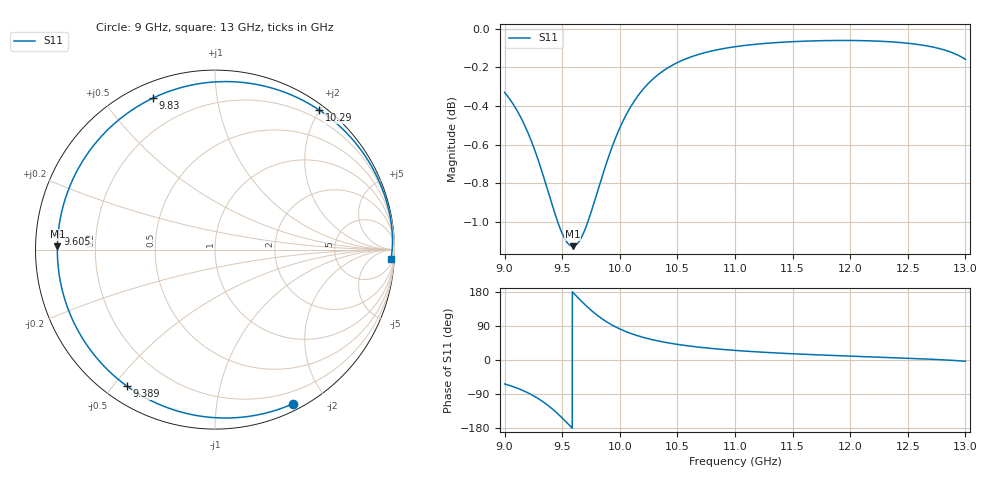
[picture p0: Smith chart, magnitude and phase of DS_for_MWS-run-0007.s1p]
! TOUCHSTONE file generated by CST DESIGN STUDIO
! Date and time: Tue Feb  4 13:34:40 2025
! Project name: C:\Work\MatlabApps\UnitCellOptimizationMatlab\CST\unitcell.cst
! Tree item: Tasks\Sweep1\SPara1\S-Parameters
! Header version: 2024
! Port assignment regex: !\s*Touchstone port\s*([0-9]+)\s*=\s*(CST MWS port|CST DES external port|CST DES block port)\s*(.+)\s* \(\"(.*)\"\)(\s*mode\s*([0-9]+))?.*
! Touchstone port assignment:
! Touchstone port 1 = CST DES external port 1 ("")
# GHz S MA R 50
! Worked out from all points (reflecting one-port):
!   4001 points, 9 GHz to 13 GHz, reference 50 ohm
!   lowest |S11| = -1.1 dB at 9.591 GHz (marker M1), VSWR 15.45, Z = 3.24 + j0.527 ohm
!   phase of S11 starts at -63 deg and turns -300 deg over the sweep
!   S11 on the Smith chart (normalised r, x): 9 GHz: 0.07, -1.63; 9.389 GHz: 0.06, -0.54; 9.605 GHz: 0.06, +0.05; 9.83 GHz: 0.07, +0.67; 10.29 GHz: 0.07, +2.00; 13 GHz: 10, -32
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9  0.9628 -63.1
9.048  0.9586 -67.6
9.117  0.9514 -75.2
9.236  0.9346 -91.9
9.317  0.9198 -106.8
9.389  0.9052 -122.8
9.444  0.8943 -137.0
9.5  0.885 -153.0
9.547  0.88 -167.4
9.591  0.8784 178.8
9.605  0.8785 174.4
9.661  0.8823 157.0
9.723  0.8913 138.9
9.776  0.9013 124.9
9.83  0.9123 112.2
9.908  0.9275 96.6
10  0.9426 81.9
10.066  0.9513 73.4
10.135  0.9587 66.0
10.289  0.9706 53.2
10.388  0.9757 47.0
10.5  0.9801 41.2
10.72  0.9856 32.8
11  0.9894 25.3
11.5  0.9924 16.5
12  0.9931 10.2
12.5  0.9914 4.6
13  0.9819 -3.2
